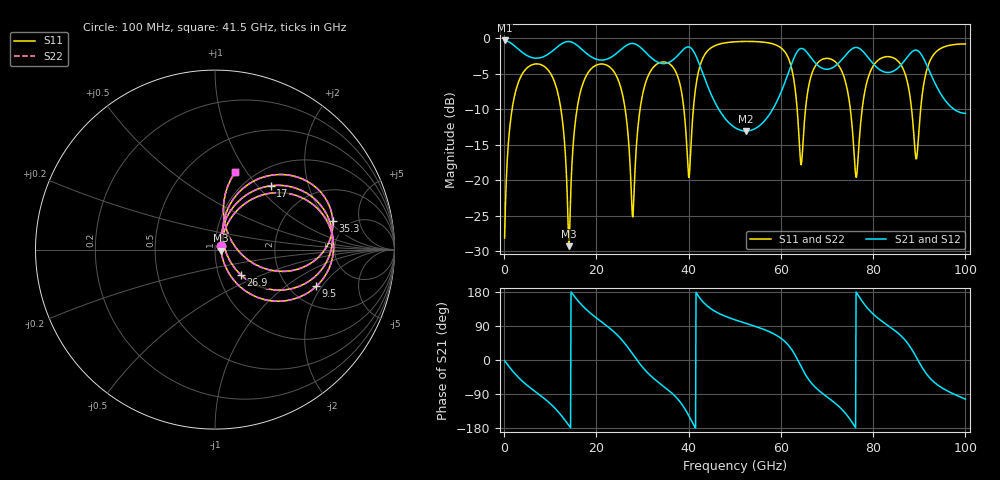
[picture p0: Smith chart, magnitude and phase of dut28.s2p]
! Touchstone file exported from HFSS 2026.1.0
!  File:  C:/ffzhzh/LocalFiles/Ansys_Project_Files/temp_train_TSV_RDL_28_1783616016_33328.aedt
!  Generated:  01:08:00 AM Jul 10, 2026
!  Design:  TSV_RDL
!  Project:  temp_train_TSV_RDL_28_1783616016_33328
! Variables:
!  h_bsmrdl = 3.34um
!  h_ox = 20um
!  h_rdl = 5um
!  h_sub = 62.43um
!  h_tmrdl = 2.62um
!  h_tsv = 62.43um
!  h_via = 3um
!  l_bsmrdl = 558.38um
!  l_sub = 4196.93um
!  l_tmrdl = 501.94um
!  m_sub = 200um
!  pitch = 59.81um
!  r_tsv = 5.81um
!  s_tmrdl = 10um
!  w_bsmrdl = 27.43um
!  w_sub = 500um
!  w_tmrdl = 10.58um
!  x_tsv_center1 = 507.23um
!  x_tsv_center2 = 1093.04um
!  x_tsv_center3 = 1605.56um
!  x_tsv_center4 = 2191.37um
!  x_tsv_center5 = 2703.89um
!  x_tsv_center6 = 3289.7um
# GHz S MA R 50.000000
! Terminal data exported
! Port[1] = TM_RDL1_1_T1
! Port[2] = TM_RDL5_1_T1
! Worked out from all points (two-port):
!   1000 points, 100 MHz to 100 GHz, reference 50 ohm
!   highest |S21| = -0.30 dB at 100 MHz (marker M1); lowest = -13.1 dB at 52.4 GHz (marker M2)
!   |S21| within 3 dB of the highest: start of sweep to 33.1 GHz; 72.79 GHz to 79.64 GHz (6.854 GHz wide, 8.99 % of centre) (the widest 2 of 5)
!   lowest |S11| = -29.3 dB at 14 GHz (marker M3), VSWR 1.07, Z = 53.5 - j0.577 ohm
!   |S11| at or under -10 dB: 12.31 GHz to 15.79 GHz (3.479 GHz wide, 24.8 % of centre); 26.24 GHz to 29.46 GHz (3.22 GHz wide, 11.6 % of centre); 75.06 GHz to 77.61 GHz (2.548 GHz wide, 3.34 % of centre) (the widest 3 of 7)
!   |S22| runs from -29.4 to -0.4 dB; largest |S21 - S12| = 8.4e-14
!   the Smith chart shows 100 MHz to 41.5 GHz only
!   S11 on the Smith chart (normalised r, x): 100 MHz: 1.07, +0.04; 9.5 GHz: 2.76, -1.76; 17 GHz: 1.29, +1.18; 26.9 GHz: 1.28, -0.38; 35.3 GHz: 3.79, +2.22; 41.5 GHz: 0.82, +0.88
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0.1  0.03916 30.3  0.9666 -1.7  0.9666 -1.7  0.03916 30.3
! Gamma 0 0 0 0
! Port Impedance 50 0 50 0
2.7  0.4486 44.7  0.8599 -41.0  0.8599 -41.0  0.4486 44.7
9.5  0.6 -20.0  0.7725 -109.8  0.7725 -109.8  0.6 -20.0
14  0.03437 -9.0  0.9501 -172.1  0.9501 -172.1  0.03398 -9.3
16.8  0.4504 51.1  0.8395 145.5  0.8395 145.5  0.4503 51.1
17  0.4722 48.8  0.8283 143.0  0.8283 143.0  0.4721 48.8
26.9  0.2024 -44.2  0.9068 32.0  0.9068 32.0  0.2022 -44.5
27.9  0.05529 21.2  0.9207 15.1  0.9207 15.1  0.05427 21.3
33.4  0.6672 29.6  0.677 -58.5  0.677 -58.5  0.6672 29.6
35.3  0.6756 13.7  0.6691 -76.5  0.6691 -76.5  0.6755 13.7
40  0.1055 20.5  0.8704 -146.3  0.8704 -146.3  0.1046 20.4
41.5  0.4443 75.4  0.7625 -179.6  0.7625 -179.6  0.444 75.6
50.1  0.9461 13.9  0.2345 105.8  0.2345 105.8  0.9461 13.9
52.4  0.9516 5.9  0.2225 96.7  0.2225 96.7  0.9516 5.8
61.8  0.7014 -45.5  0.5925 36.4  0.5925 36.4  0.7011 -45.7
64.4  0.1286 -14.0  0.849 -18.0  0.849 -18.0  0.1255 -14.0
66.7  0.5625 20.2  0.7187 -62.1  0.7187 -62.1  0.5621 20.4
73  0.6062 -32.6  0.696 -127.5  0.696 -127.5  0.6061 -32.5
76.1  0.12 -27.1  0.8621 -176.8  0.8621 -176.8  0.1203 -27.0
83.4  0.7434 -0.7  0.5753 89.3  0.5753 89.3  0.7435 -0.6
89.5  0.1487 20.7  0.8238 4.3  0.8238 4.3  0.1513 20.3
100  0.913 -13.4  0.2965 -103.3  0.2965 -103.3  0.913 -13.4
